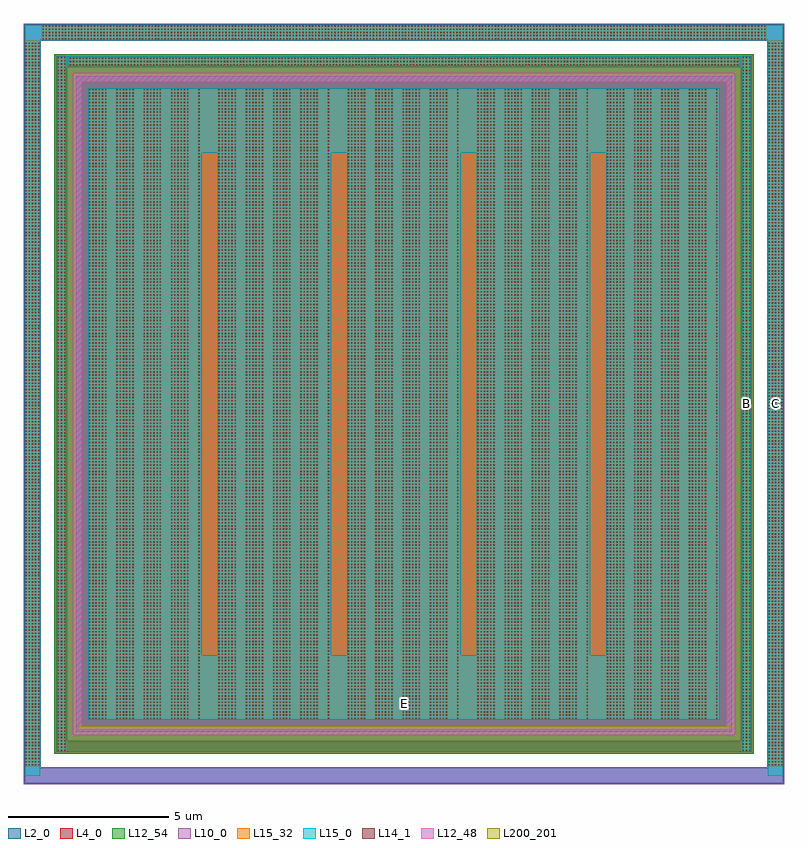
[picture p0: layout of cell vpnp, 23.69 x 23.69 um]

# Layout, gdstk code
import gdstk
lib = gdstk.Library(unit=1e-6, precision=1e-09)
def R(c, l, rs):  # rectangles x0, y0, x1, y1
    for r in rs: c.add(gdstk.rectangle(r[:2], r[2:], *l))
def A(c, l, x, y, w, h, nx, ny, dx, dy):  # array of equal rectangles
    R(c, l, [(x+i*dx, y+j*dy, x+i*dx+w, y+j*dy+h) for i in range(nx) for j in range(ny)])
L2_0 = (2, 0)
L4_0 = (4, 0)
L10_0 = (10, 0)
L12_48 = (12, 48)
L12_54 = (12, 54)
L14_1 = (14, 1)
L15_0 = (15, 0)
L15_32 = (15, 32)
L200_201 = (200, 201)

vpnp = lib.new_cell('vpnp')
R(vpnp, L2_0, [(-18.329,-10.359,5.323,-9.879), (-18.329,-9.879,-17.849,12.813), (4.843,-9.879,5.323,12.813), (-17.349,-9.379,4.343,-9.039), (-17.349,-9.039,-17.009,11.973), (4.003,-9.039,4.343,11.973), (-16.653,-8.683,3.647,11.617), (-17.349,11.973,4.343,12.313), (-18.329,12.813,5.323,13.293)])
R(vpnp, L4_0, [(-17.405,-9.435,4.399,12.369)])
R(vpnp, L10_0, [(-18.35,-10.38,5.344,-9.858), (-18.35,-9.858,-17.828,12.792), (4.822,-9.858,5.344,12.792), (-16.723,-8.753,3.717,11.687), (-18.35,12.792,5.344,13.314)])
R(vpnp, L12_48, [(-16.834,-8.864,3.828,-8.558), (-16.834,-8.558,-16.528,11.492), (3.522,-8.558,3.828,11.492), (-16.834,11.492,3.828,11.798)])
R(vpnp, L12_54, [(-17.405,-9.435,4.399,12.369)])
A(vpnp, L14_1, -18.309, -9.803, 0.04, 0.04, 5, 226, 0.1, 0.1)
A(vpnp, L14_1, 4.863, -9.803, 0.04, 0.04, 5, 226, 0.1, 0.1)
A(vpnp, L14_1, -17.299, -9.353, 0.04, 0.04, 3, 217, 0.1, 0.1)
A(vpnp, L14_1, 4.053, -9.353, 0.04, 0.04, 3, 217, 0.1, 0.1)
A(vpnp, L14_1, -16.323, -8.353, 0.04, 0.04, 6, 197, 0.1, 0.1)
A(vpnp, L14_1, -15.471, -8.353, 0.04, 0.04, 6, 197, 0.1, 0.1)
A(vpnp, L14_1, -14.619, -8.353, 0.04, 0.04, 6, 197, 0.1, 0.1)
A(vpnp, L14_1, -13.767, -8.353, 0.04, 0.04, 6, 197, 0.1, 0.1)
A(vpnp, L14_1, -12.915, -8.353, 0.04, 0.04, 1, 197, 0, 0.1)
A(vpnp, L14_1, -12.287, -8.353, 0.04, 0.04, 6, 197, 0.1, 0.1)
A(vpnp, L14_1, -11.435, -8.353, 0.04, 0.04, 6, 197, 0.1, 0.1)
A(vpnp, L14_1, -10.583, -8.353, 0.04, 0.04, 6, 197, 0.1, 0.1)
A(vpnp, L14_1, -9.731, -8.353, 0.04, 0.04, 6, 197, 0.1, 0.1)
A(vpnp, L14_1, -8.879, -8.353, 0.04, 0.04, 1, 197, 0, 0.1)
A(vpnp, L14_1, -8.252, -8.353, 0.04, 0.04, 6, 197, 0.1, 0.1)
A(vpnp, L14_1, -7.4, -8.353, 0.04, 0.04, 6, 197, 0.1, 0.1)
A(vpnp, L14_1, -6.548, -8.353, 0.04, 0.04, 6, 197, 0.1, 0.1)
A(vpnp, L14_1, -5.696, -8.353, 0.04, 0.04, 6, 197, 0.1, 0.1)
A(vpnp, L14_1, -4.844, -8.353, 0.04, 0.04, 1, 197, 0, 0.1)
A(vpnp, L14_1, -4.217, -8.353, 0.04, 0.04, 6, 197, 0.1, 0.1)
A(vpnp, L14_1, -3.365, -8.353, 0.04, 0.04, 6, 197, 0.1, 0.1)
A(vpnp, L14_1, -2.513, -8.353, 0.04, 0.04, 6, 197, 0.1, 0.1)
A(vpnp, L14_1, -1.661, -8.353, 0.04, 0.04, 6, 197, 0.1, 0.1)
A(vpnp, L14_1, -0.809, -8.353, 0.04, 0.04, 1, 197, 0, 0.1)
A(vpnp, L14_1, -0.182, -8.353, 0.04, 0.04, 6, 197, 0.1, 0.1)
A(vpnp, L14_1, 0.67, -8.353, 0.04, 0.04, 6, 197, 0.1, 0.1)
A(vpnp, L14_1, 1.522, -8.353, 0.04, 0.04, 6, 197, 0.1, 0.1)
A(vpnp, L14_1, 2.374, -8.353, 0.04, 0.04, 6, 197, 0.1, 0.1)
A(vpnp, L14_1, 3.226, -8.353, 0.04, 0.04, 1, 197, 0, 0.1)
A(vpnp, L14_1, -16.923, 12.023, 0.04, 0.04, 209, 3, 0.1, 0.1)
A(vpnp, L14_1, -17.773, 12.833, 0.04, 0.04, 226, 5, 0.1, 0.1)
A(vpnp, L15_0, -12.305, -6.371, 3.535, 15.676, 4, 1, 4.035, 0)
R(vpnp, L15_0, [(-18.327,-10.119,-17.851,13.291), (4.845,-10.119,5.321,13.291), (-17.317,-9.371,-17.041,12.305), (4.035,-9.371,4.311,12.305), (-16.341,-8.371,3.335,-6.371), (-16.341,-6.371,-12.806,9.305), (-16.341,9.305,3.335,11.305), (-17.041,12.005,4.035,12.305), (-17.851,12.815,4.845,13.291)])
R(vpnp, L15_32, [(-18.327,-9.821,-17.851,12.815), (4.845,-9.821,5.321,12.815), (-17.317,-9.371,-17.041,12.305), (4.035,-9.371,4.311,12.305), (-16.341,-8.371,3.335,11.305), (-16.941,12.005,3.935,12.281), (-17.791,12.815,4.785,13.291)])
R(vpnp, L200_201, [(-16.653,-8.683,3.647,-8.583)])
vpnp.add(gdstk.Label('E', (-6.503,-7.871), layer=15, texttype=20))
vpnp.add(gdstk.Label('B', (4.173,1.467), layer=15, texttype=20))
vpnp.add(gdstk.Label('C', (5.083,1.467), layer=15, texttype=20))

lib.write_gds('vpnp.gds')
